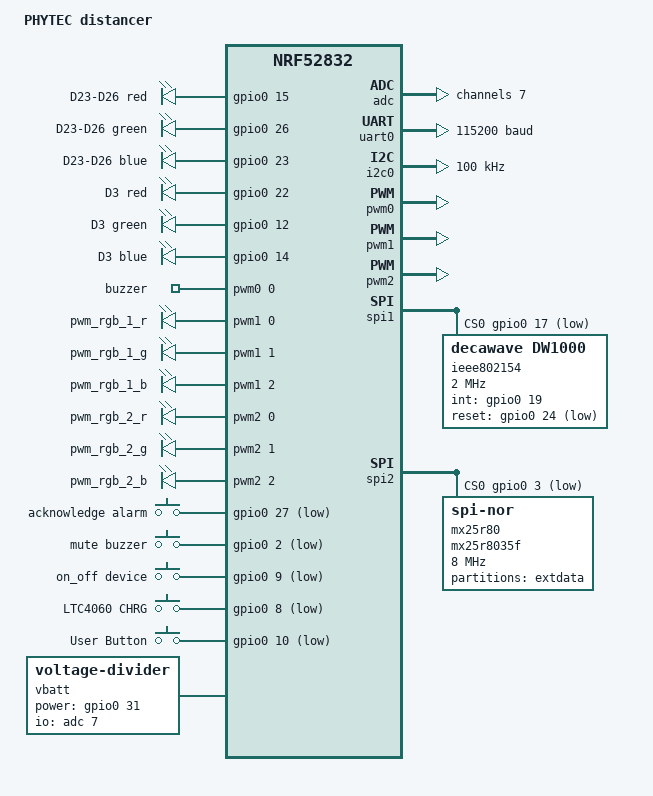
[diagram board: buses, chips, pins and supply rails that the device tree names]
/*
 * Copyright (c) 2020 PHYTEC Messtechnik GmbH
 * Copyright (c) 2019 Stéphane D'Alu
 *
 * SPDX-License-Identifier: Apache-2.0
 *
 * PHYTEC distancer (rev 3) - DWM1001-based UWB distancing device.
 * nRF52832-CIAA + DW1000 UWB transceiver + MX25R8035F SPI-NOR flash.
 */

/dts-v1/;
#include <nordic/nrf52832_ciaa.dtsi>
#include "distancer-pinctrl.dtsi"
#include <zephyr/dt-bindings/input/input-event-codes.h>

/ {
	model = "PHYTEC distancer";
	compatible = "phytec,distancer", "decawave,dwm1001",
		     "nordic,nrf52832-ciaa", "nordic,nrf52832";

	chosen {
		zephyr,console        = &uart0;
		zephyr,shell-uart     = &uart0;
		zephyr,uart-mcumgr    = &uart0;
		zephyr,bt-mon-uart    = &uart0;
		zephyr,bt-c2h-uart    = &uart0;
		zephyr,sram           = &sram0;
		zephyr,flash          = &flash0;
		zephyr,code-partition = &slot0_partition;
		zephyr,ieee802154     = &ieee802154;
	};

	leds {
		compatible = "gpio-leds";

		rgb_1_r: rgb_1_r {
			gpios = <&gpio0 15 GPIO_ACTIVE_HIGH>;
			label = "D23-D26 red";
		};
		rgb_1_g: rgb_1_g {
			gpios = <&gpio0 26 GPIO_ACTIVE_HIGH>;
			label = "D23-D26 green";
		};
		rgb_1_b: rgb_1_b {
			gpios = <&gpio0 23 GPIO_ACTIVE_HIGH>;
			label = "D23-D26 blue";
		};
		rgb_2_r: rgb_2_r {
			gpios = <&gpio0 22 GPIO_ACTIVE_HIGH>;
			label = "D3 red";
		};
		rgb_2_g: rgb_2_g {
			gpios = <&gpio0 12 GPIO_ACTIVE_HIGH>;
			label = "D3 green";
		};
		rgb_2_b: rgb_2_b {
			gpios = <&gpio0 14 GPIO_ACTIVE_HIGH>;
			label = "D3 blue";
		};
	};

	/*
	 * The RGB LEDs and the buzzer can alternatively be driven by the PWM
	 * peripherals. The pin assignment intentionally mirrors the gpio-leds
	 * above; only one driver (GPIO or PWM) should be active on a given pin
	 * at a time - this is an application-level decision.
	 */
	pwmleds {
		compatible = "pwm-leds";

		buzzer: buzzer {
			pwms = <&pwm0 0 PWM_KHZ(4) PWM_POLARITY_NORMAL>;
		};
		pwm_rgb_1_r: pwm_rgb_1_r {
			pwms = <&pwm1 0 PWM_MSEC(20) PWM_POLARITY_NORMAL>;
		};
		pwm_rgb_1_g: pwm_rgb_1_g {
			pwms = <&pwm1 1 PWM_MSEC(20) PWM_POLARITY_NORMAL>;
		};
		pwm_rgb_1_b: pwm_rgb_1_b {
			pwms = <&pwm1 2 PWM_MSEC(20) PWM_POLARITY_NORMAL>;
		};
		pwm_rgb_2_r: pwm_rgb_2_r {
			pwms = <&pwm2 0 PWM_MSEC(20) PWM_POLARITY_NORMAL>;
		};
		pwm_rgb_2_g: pwm_rgb_2_g {
			pwms = <&pwm2 1 PWM_MSEC(20) PWM_POLARITY_NORMAL>;
		};
		pwm_rgb_2_b: pwm_rgb_2_b {
			pwms = <&pwm2 2 PWM_MSEC(20) PWM_POLARITY_NORMAL>;
		};
	};

	buttons {
		compatible = "gpio-keys";

		button_ack: button_ack {
			gpios = <&gpio0 27 (GPIO_PULL_UP | GPIO_ACTIVE_LOW)>;
			label = "acknowledge alarm";
			zephyr,code = <INPUT_KEY_0>;
		};
		button_mute: button_mute {
			gpios = <&gpio0 2 (GPIO_PULL_UP | GPIO_ACTIVE_LOW)>;
			label = "mute buzzer";
			zephyr,code = <INPUT_KEY_1>;
		};
		button_onoff: button_onoff {
			gpios = <&gpio0 9 (GPIO_PULL_UP | GPIO_ACTIVE_LOW)>;
			label = "on_off device";
			zephyr,code = <INPUT_KEY_2>;
		};
		chrg: chrg {
			gpios = <&gpio0 8 (GPIO_PULL_UP | GPIO_ACTIVE_LOW)>;
			label = "LTC4060 CHRG";
			zephyr,code = <INPUT_KEY_3>;
		};
		user_button: button_0 {
			gpios = <&gpio0 10 (GPIO_PULL_UP | GPIO_ACTIVE_LOW)>;
			label = "User Button";
			zephyr,code = <INPUT_KEY_4>;
		};
	};

	vbatt {
		compatible = "voltage-divider";
		io-channels = <&adc 7>;
		output-ohms = <180000>;
		full-ohms = <(1500000 + 180000)>;
		power-gpios = <&gpio0 31 0>;
	};

	/* Aliases for compatibility with upstream Zephyr samples. */
	aliases {
		sw0 = &user_button;
		led0 = &rgb_1_r;
		led1 = &rgb_1_g;
		led2 = &rgb_1_b;
		led3 = &rgb_2_r;
		pwm-led0 = &pwm_rgb_1_r;
		watchdog0 = &wdt0;
	};
};

&reg {
	regulator-initial-mode = <NRF5X_REG_MODE_DCDC>;
};

&uicr {
	gpio-as-nreset;
};

&adc {
	status = "okay";
	#address-cells = <1>;
	#size-cells = <0>;

	channel@7 {
		reg = <7>;
		zephyr,gain = "ADC_GAIN_1_6";
		zephyr,reference = "ADC_REF_INTERNAL";
		zephyr,acquisition-time = <ADC_ACQ_TIME(ADC_ACQ_TIME_MICROSECONDS, 40)>;
		zephyr,input-positive = <NRF_SAADC_AIN7>;
		zephyr,resolution = <12>;
	};
};

&gpiote {
	status = "okay";
};

&gpio0 {
	status = "okay";
};

&uart0 {
	status = "okay";
	compatible = "nordic,nrf-uart";
	current-speed = <115200>;
	pinctrl-0 = <&uart0_default>;
	pinctrl-1 = <&uart0_sleep>;
	pinctrl-names = "default", "sleep";
};

&i2c0 {
	compatible = "nordic,nrf-twim";
	status = "okay";
	clock-frequency = <I2C_BITRATE_STANDARD>;
	pinctrl-0 = <&i2c0_default>;
	pinctrl-1 = <&i2c0_sleep>;
	pinctrl-names = "default", "sleep";
};

&pwm0 {
	status = "okay";
	pinctrl-0 = <&pwm0_default>;
	pinctrl-1 = <&pwm0_sleep>;
	pinctrl-names = "default", "sleep";
};

&pwm1 {
	status = "okay";
	pinctrl-0 = <&pwm1_default>;
	pinctrl-1 = <&pwm1_sleep>;
	pinctrl-names = "default", "sleep";
};

&pwm2 {
	status = "okay";
	pinctrl-0 = <&pwm2_default>;
	pinctrl-1 = <&pwm2_sleep>;
	pinctrl-names = "default", "sleep";
};

/* SPI1 -> DW1000 UWB transceiver */
&spi1 {
	compatible = "nordic,nrf-spi";
	status = "okay";
	cs-gpios = <&gpio0 17 GPIO_ACTIVE_LOW>;
	pinctrl-0 = <&spi1_default>;
	pinctrl-1 = <&spi1_sleep>;
	pinctrl-names = "default", "sleep";

	ieee802154: dw1000@0 {
		compatible = "decawave,dw1000";
		reg = <0>;
		spi-max-frequency = <2000000>;
		int-gpios = <&gpio0 19 GPIO_ACTIVE_HIGH>;	/* P0.19 */
		reset-gpios = <&gpio0 24 GPIO_ACTIVE_LOW>;	/* P0.24 */
		status = "okay";
	};
};

/* SPI2 -> MX25R8035F external SPI-NOR flash */
&spi2 {
	compatible = "nordic,nrf-spi";
	status = "okay";
	cs-gpios = <&gpio0 3 GPIO_ACTIVE_LOW>;
	pinctrl-0 = <&spi2_default>;
	pinctrl-1 = <&spi2_sleep>;
	pinctrl-names = "default", "sleep";

	mx25r80: mx25r8035f@0 {
		compatible = "jedec,spi-nor";
		reg = <0>;
		spi-max-frequency = <8000000>;
		size = <0x800000>;
		jedec-id = [c2 28 14];
		status = "okay";

		partitions {
			compatible = "fixed-partitions";
			#address-cells = <1>;
			#size-cells = <1>;

			extdata_partition: partition@0 {
				label = "extdata";
				reg = <0x00000000 0x00002000>;
			};
		};
	};
};

&flash0 {
	partitions {
		compatible = "fixed-partitions";
		#address-cells = <1>;
		#size-cells = <1>;

		boot_partition: partition@0 {
			label = "mcuboot";
			reg = <0x00000000 0xc000>;
		};
		slot0_partition: partition@c000 {
			label = "image-0";
			reg = <0x0000c000 0x32000>;
		};
		slot1_partition: partition@3e000 {
			label = "image-1";
			reg = <0x0003e000 0x32000>;
		};
		scratch_partition: partition@70000 {
			label = "image-scratch";
			reg = <0x00070000 0xa000>;
		};
		storage_partition: partition@7a000 {
			label = "storage";
			reg = <0x0007a000 0x00006000>;
		};
	};
};
